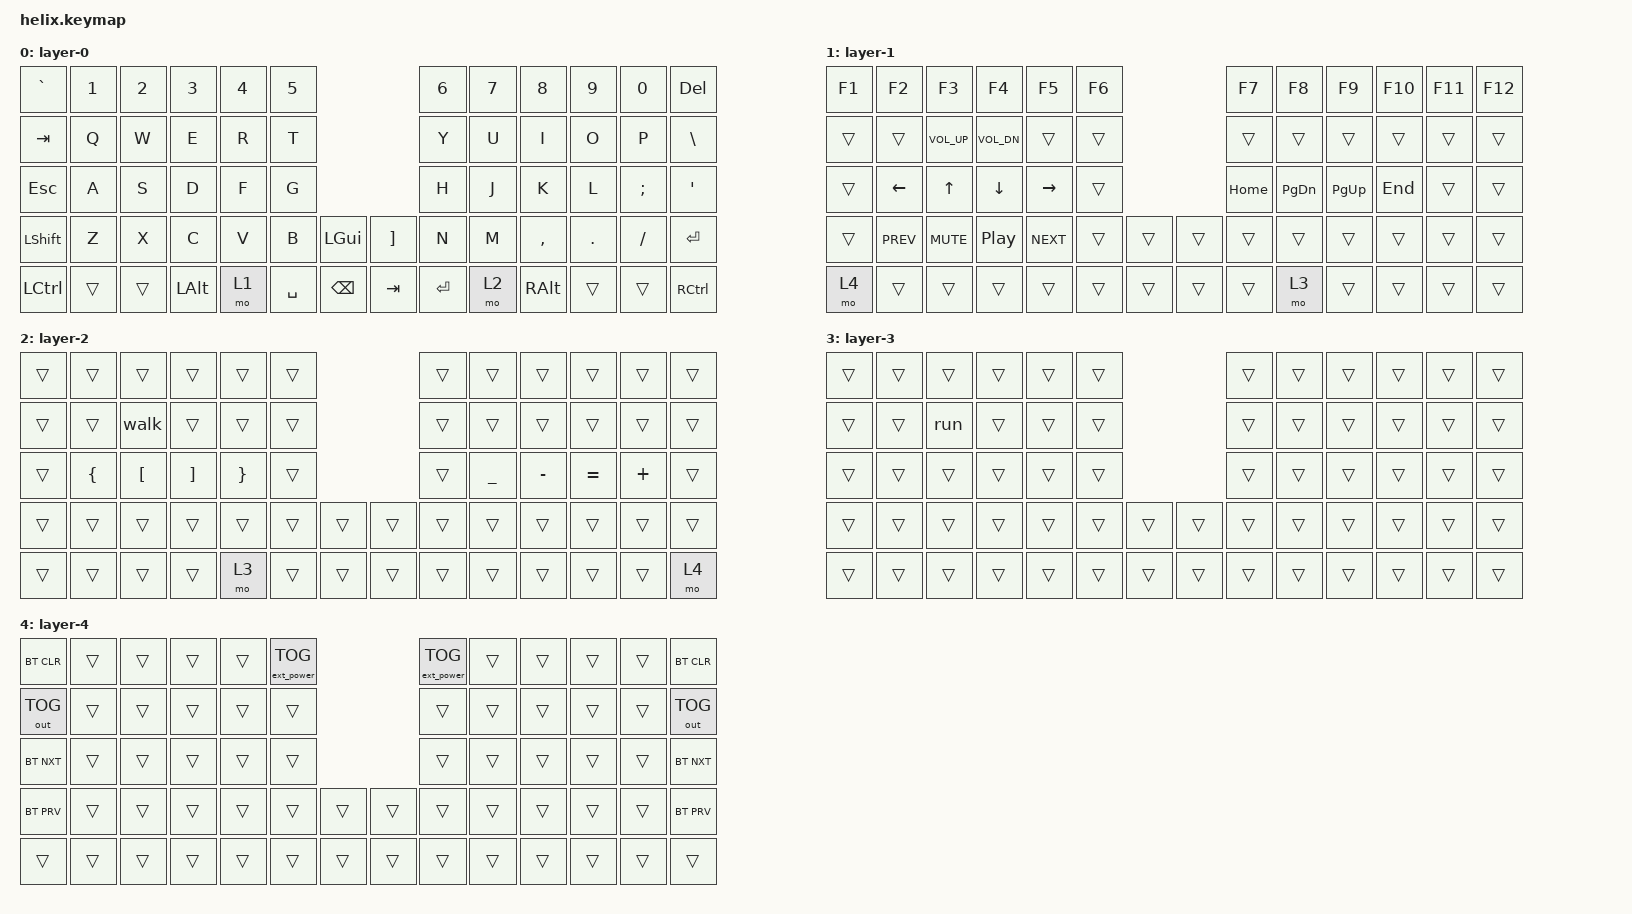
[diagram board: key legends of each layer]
 #include <behaviors.dtsi>
 #include <dt-bindings/zmk/keys.h>
 #include <dt-bindings/zmk/bt.h>
 #include <dt-bindings/zmk/rgb.h>
 #include <dt-bindings/zmk/ext_power.h>
 #include <dt-bindings/zmk/outputs.h>

/ {
  keymap {
    compatible = "zmk,keymap";

    layer-0 {
      bindings = <
      /*  `~         1!      2@      3#        4$        5%                               6^        7&       8*         9(          0)         delete
      */  &kp GRAVE  &kp N1  &kp N2  &kp N3    &kp N4    &kp N5                           &kp N6    &kp N7   &kp N8     &kp N9      &kp N0     &kp DEL
      /*  tab        qQ      wW      eE        rR        tT                               yY        uU       iI         oO          pP         \|
      */  &kp TAB    &kp Q   &kp W   &kp E     &kp R     &kp T                            &kp Y     &kp U    &kp I      &kp O       &kp P      &kp BSLH
      /*  escape     aA      sS      dD        fF        gG                               hH        jJ       kK         lL          ;:         '"
      */  &kp ESC    &kp A   &kp S   &kp D     &kp F     &kp G                            &kp H     &kp J    &kp K      &kp L       &kp SEMI   &kp SQT
      /*  shift      zZ      xX      cC        vV        bB         super       super     nN        mM       ,<         .>          /?         shift
      */  &kp LSHFT  &kp Z   &kp X   &kp C     &kp V     &kp B      &kp LGUI    &kp RBKT  &kp N     &kp M    &kp COMMA  &kp PERIOD  &kp SLASH  &kp RET
      /*  ctrl                       alt       mo1       space      back        tab       enter    mo2       compose                           ctrl
      */  &kp LCTRL  &trans  &trans  &kp LALT  &mo 1     &kp SPACE  &kp BSPC    &kp TAB   &kp RET  &mo 2     &kp RALT   &trans      &trans     &kp RCTRL
      >;
    };

    layer-1 {
      bindings = <
      /*  F1      F2          F3           F4            F5          F6                        F7        F8         F9         F10      F11      F12
      */  &kp F1  &kp F2      &kp F3       &kp F4        &kp F5      &kp F6                    &kp F7    &kp F8     &kp F9     &kp F10  &kp F11  &kp F12
      /*                      vol+         vol-
      */  &trans  &trans      &kp C_VOL_UP &kp C_VOL_DN  &trans      &trans                    &trans    &trans     &trans     &trans   &trans   &trans
      /*          left        up           down          right                                 home      pgdn       pgup       end
      */  &trans  &kp LEFT    &kp UP       &kp DOWN      &kp RIGHT   &trans                    &kp HOME  &kp PG_DN  &kp PG_UP  &kp END  &trans   &trans
      /*          previous    mute         play/pause    next
      */  &trans  &kp C_PREV  &kp C_MUTE   &kp C_PP      &kp C_NEXT  &trans  &trans    &trans  &trans    &trans     &trans     &trans   &trans   &trans
      /*  mo4                                                                                            mo3
      */  &mo 4   &trans      &trans       &trans        &trans      &trans  &trans    &trans  &trans    &mo 3      &trans     &trans   &trans   &trans
      >;
    };

    layer-2 {
      bindings = <
      /*
      */  &trans  &trans    &trans    &trans    &trans    &trans                    &trans  &trans     &trans     &trans     &trans    &trans
      /*                    walk
      */  &trans  &trans    &walk     &trans    &trans    &trans                    &trans  &trans     &trans     &trans     &trans    &trans
      /*          {         [         ]         }                                           _          -          =          +
      */  &trans  &kp LBRC  &kp LBKT  &kp RBKT  &kp RBRC  &trans                    &trans  &kp UNDER  &kp MINUS  &kp EQUAL  &kp PLUS  &trans
      /*
      */  &trans  &trans    &trans    &trans    &trans    &trans  &trans    &trans  &trans  &trans     &trans     &trans     &trans    &trans
      /*                                        mo3                                                                                    mo4
      */  &trans  &trans    &trans    &trans    &mo 3     &trans  &trans    &trans  &trans  &trans     &trans     &trans     &trans    &mo 4
      >;
    };

    layer-3 {
      bindings = <
      /*
      */  &trans  &trans  &trans  &trans  &trans  &trans                    &trans  &trans  &trans  &trans  &trans  &trans
      /*                  run
      */  &trans  &trans  &run    &trans  &trans  &trans                    &trans  &trans  &trans  &trans  &trans  &trans
      /*
      */  &trans  &trans  &trans  &trans  &trans  &trans                    &trans  &trans  &trans  &trans  &trans  &trans
      /*
      */  &trans  &trans  &trans  &trans  &trans  &trans  &trans    &trans  &trans  &trans  &trans  &trans  &trans  &trans
      /*
      */  &trans  &trans  &trans  &trans  &trans  &trans  &trans    &trans  &trans  &trans  &trans  &trans  &trans  &trans
      >;
    };

    layer-4 {
      bindings = <
      /*  bt clear                                      toggle external power     toggle external power                              bt clear
      */  &bt BT_CLR    &trans  &trans  &trans  &trans  &ext_power EP_TOG         &ext_power EP_TOG  &trans  &trans  &trans  &trans  &bt BT_CLR
      /*  usb/bt toggle                                                                                                              usb/bt toggle
      */  &out OUT_TOG  &trans  &trans  &trans  &trans  &trans                    &trans             &trans  &trans  &trans  &trans  &out OUT_TOG
      /*  bt next                                                                                                                    bt next
      */  &bt BT_NXT    &trans  &trans  &trans  &trans  &trans                    &trans             &trans  &trans  &trans  &trans  &bt BT_NXT
      /*  bt prev                                                                                                                    bt prev
      */  &bt BT_PRV    &trans  &trans  &trans  &trans  &trans  &trans    &trans  &trans             &trans  &trans  &trans  &trans  &bt BT_PRV
      /*
      */  &trans        &trans  &trans  &trans  &trans  &trans  &trans    &trans  &trans             &trans  &trans  &trans  &trans  &trans
      >;
    };
  };

  macros {
    walk: walk {
      compatible = "zmk,behavior-macro";
      #binding-cells = <0>;
      bindings = <&macro_press &kp W>;
    };

    run: run {
      compatible = "zmk,behavior-macro";
      #binding-cells = <0>;
      bindings = <&macro_press &kp LSHIFT>, <&macro_press &kp W>;
    };
  };
};
